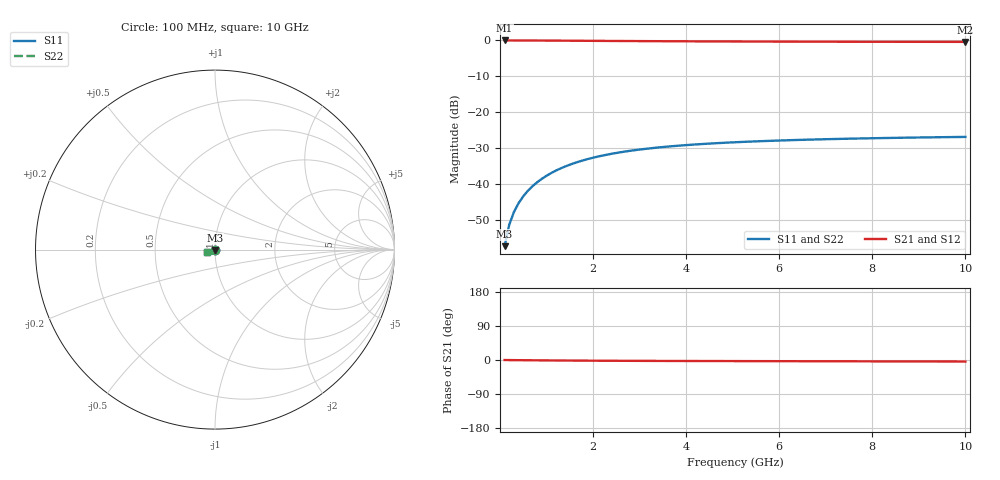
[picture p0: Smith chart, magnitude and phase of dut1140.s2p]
! Touchstone file exported from HFSS 2024.1.0
!  File:  C:/UserFiles/LocalFiles/RDL_TSV_Batchsim/temp_TSV1_1140_1780070922.aedt
!  Generated:  12:15:28 AM May 30, 2026
!  Design:  TSV1
!  Project:  temp_TSV1_1140_1780070922
!  Setup:  Setup1
!  Solution:  Sweep
! Variables:
!  dtsv = 12.54um
!  hbump = 3um
!  htsv = 60.15um
!  lrdl = 252.1521522um
!  p = 40
!  p1 = 46.81um
!  t = 500um
!  trdl = 3um
!  wrdl = 24.89489489um
# GHz S MA R 50.000000
! Terminal data exported
! Port[1] = TSV22_T1
! Port[2] = TSV22_T2
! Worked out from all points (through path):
!   100 points, 100 MHz to 10 GHz, reference 50 ohm
!   highest |S21| = 0.00 dB at 100 MHz (marker M1); lowest = -0.4 dB at 10 GHz (marker M2)
!   lowest |S11| = -57.3 dB at 100 MHz (marker M3), VSWR 1.00, Z = 50 - j0.137 ohm
!   |S11| at or under -10 dB: start of sweep to end of sweep
!   |S22| runs from -57.3 to -26.8 dB; largest |S21 - S12| = 3.7e-15
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0.1  0.001372 -88.5  0.9999 -0.1  0.9999 -0.1  0.001372 -88.5
! Gamma 0 0 0 0
! Port Impedance 50 0 50 0
0.2  0.002736 -92.0  0.9997 -0.2  0.9997 -0.2  0.002736 -92.0
0.3  0.004094 -94.3  0.9995 -0.3  0.9995 -0.3  0.004094 -94.3
0.4  0.00544 -96.4  0.9992 -0.5  0.9992 -0.5  0.00544 -96.4
0.5  0.006772 -98.3  0.9988 -0.6  0.9988 -0.6  0.006772 -98.3
0.6  0.008085 -100.2  0.9983 -0.7  0.9983 -0.7  0.008085 -100.2
0.7  0.009376 -102.0  0.9978 -0.8  0.9978 -0.8  0.009376 -102.0
0.8  0.01064 -103.7  0.9972 -0.9  0.9972 -0.9  0.01064 -103.7
0.9  0.01188 -105.5  0.9966 -1.0  0.9966 -1.0  0.01188 -105.5
1.1  0.01427 -108.8  0.9951 -1.2  0.9951 -1.2  0.01427 -108.8
1.4  0.01761 -113.5  0.9927 -1.4  0.9927 -1.4  0.01761 -113.5
1.6  0.01966 -116.4  0.9909 -1.6  0.9909 -1.6  0.01966 -116.4
1.8  0.02157 -119.2  0.9892 -1.7  0.9892 -1.7  0.02157 -119.2
2.1  0.02417 -123.1  0.9866 -1.9  0.9866 -1.9  0.02417 -123.1
2.5  0.02719 -127.8  0.9832 -2.1  0.9832 -2.1  0.02719 -127.8
2.9  0.02974 -131.9  0.9801 -2.3  0.9801 -2.3  0.02974 -131.9
3.4  0.0324 -136.5  0.9765 -2.4  0.9765 -2.4  0.0324 -136.5
4.2  0.0357 -142.4  0.9716 -2.7  0.9716 -2.7  0.0357 -142.4
5.1  0.03844 -147.8  0.9673 -2.9  0.9673 -2.9  0.03844 -147.8
6.7  0.04176 -155.2  0.9618 -3.3  0.9618 -3.3  0.04176 -155.2
8.4  0.04403 -161.0  0.958 -3.7  0.958 -3.7  0.04403 -161.0
10  0.04547 -165.5  0.9554 -4.0  0.9554 -4.0  0.04547 -165.5
